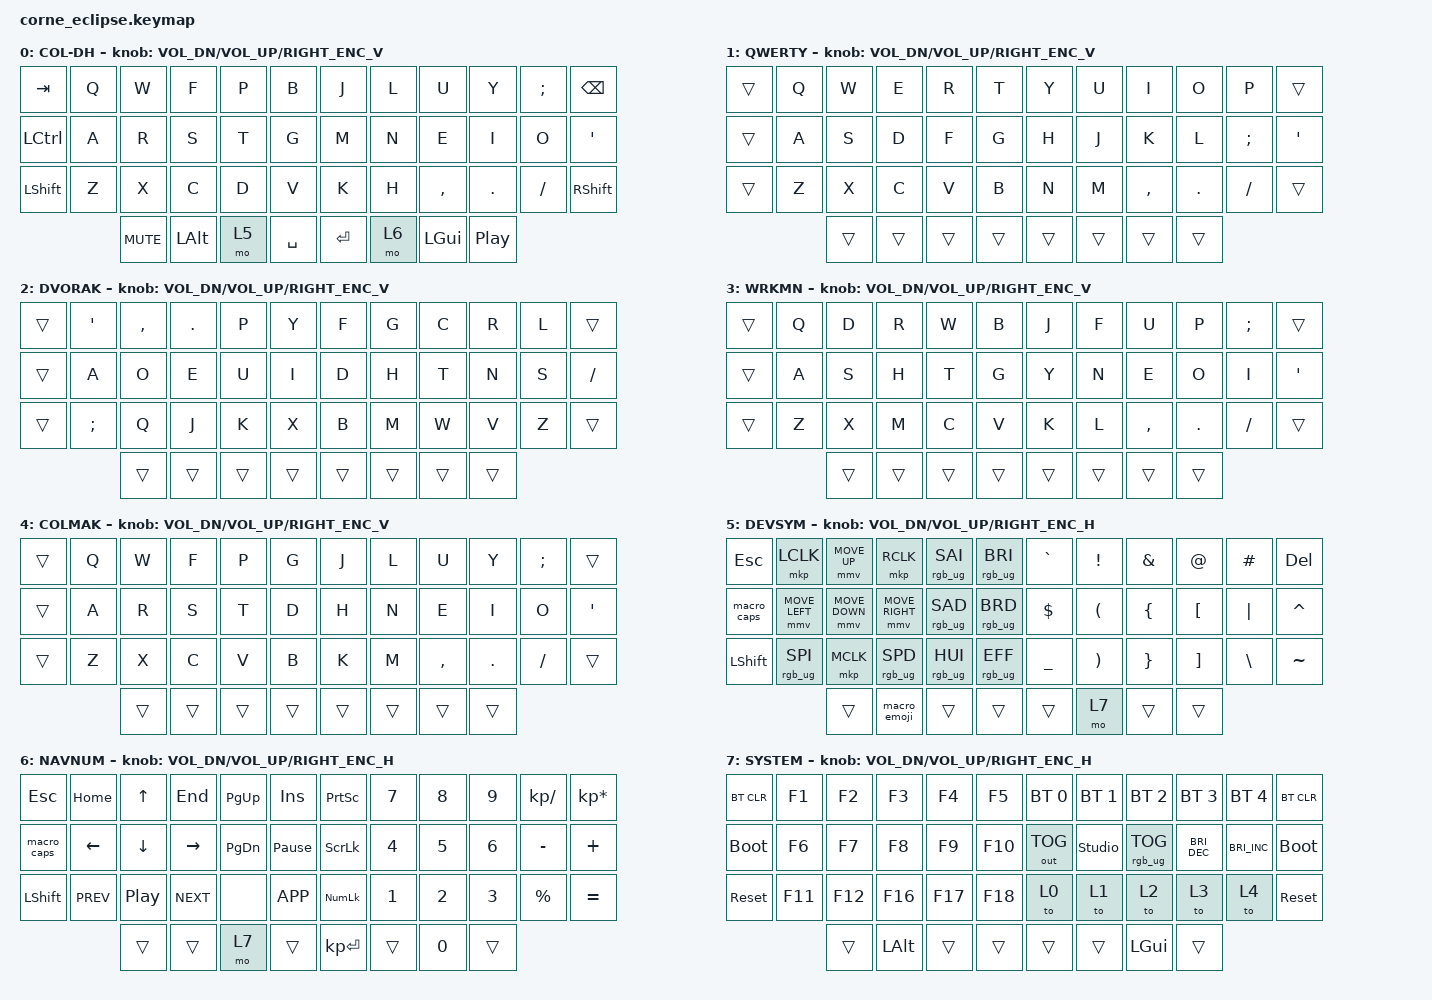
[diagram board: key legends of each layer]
/* DISABLE WORD WRAP FOR EASIER READING ****************************************
*******************************************************************************/

/*
 * Copyright (c) 2020 The ZMK Contributors
 * SPDX-License-Identifier: MIT
 *
 * Adapted for personal use from the ZMK project by Frosthaven
 */

#include <behaviors.dtsi>
#include <dt-bindings/zmk/keys.h>
#include <dt-bindings/zmk/bt.h>
#include <dt-bindings/zmk/rgb.h>
#include <dt-bindings/zmk/ext_power.h>
#include <dt-bindings/zmk/outputs.h>
#define ZMK_POINTING_DEFAULT_MOVE_VAL 1200
#define ZMK_POINTING_DEFAULT_SCRL_VAL 100
#include <dt-bindings/zmk/pointing.h>

/* Mouse cursor acceleration: ramp 0 -> max move value (1200) over 500ms
 * (ZMK default time-to-max-speed-ms is 300). */
&mmv {
    time-to-max-speed-ms = <500>;
};

/* BEHAVIORS *******************************************************************
*******************************************************************************/

&mt {
  tapping-term-ms = <200>;
};

/* DEVICE MAP ******************************************************************
*******************************************************************************/

#ifndef DEFAULT_TYPING_LAYER
#define DEFAULT_TYPING_LAYER 0
#endif

#define COLDH 0
#define QWERTY 1
#define DVORAK 2
#define WRKMN 3
#define COLMAK 4
#define SYMBOL 5
#define NAVPAD 6
#define SYSTEM 7

/* Right-encoder action: mouse scroll, all builds. (Two-finger scroll on the
 * trackpad covers the same gesture, so the encoder doesn't need to double as
 * a zoom wheel.) */
#define RIGHT_ENC_V &scroll_vertical
#define RIGHT_ENC_H &scroll_horizontal

/ {

  behaviors {
    scroll_vertical: scroll_vertical {
      compatible = "zmk,behavior-sensor-rotate";
      #sensor-binding-cells = <0>;
      bindings = <&msc SCRL_DOWN>, <&msc SCRL_UP>;
      tap-ms = <100>;
    };
    scroll_horizontal: scroll_horizontal {
      compatible = "zmk,behavior-sensor-rotate";
      #sensor-binding-cells = <0>;
      bindings = <&msc MOVE_X(75)>, <&msc MOVE_X(-75)>;
      tap-ms = <100>;
    };
  };

  macros {
    // MACOS requires the caps lock key to be held for 200ms to register
    ZMK_MACRO(macro_caps,
      tap-ms = <200>;
      bindings = <&kp CAPS>;
    )

    // emoji picker
    // - Windows: Win + .
    // - MacOS: Ctrl + Cmd + Space
    ZMK_MACRO(macro_emoji,
      tap-ms = <1>;
      bindings
          = <&macro_press &kp LGUI>
          , <&macro_tap &kp DOT>
          , <&macro_release &kp LGUI>
          , <&macro_press &kp LCTRL>
          , <&macro_press &kp LGUI>
          , <&macro_tap &kp SPACE>
          , <&macro_release &kp LCTRL>
          , <&macro_release &kp LGUI>
          ;
    )

  };

  keymap {
      compatible = "zmk,keymap";

/* LAYER 0 — DEFAULT TYPING LAYER (selected at compile time) *****************/

      layout_layer_0 {
#if DEFAULT_TYPING_LAYER == 1
        display-name ="QWERTY";
        bindings = <
          &kp TAB               &kp Q             &kp W             &kp E             &kp R             &kp T             &kp Y             &kp U             &kp I             &kp O             &kp P                 &kp BSPC
          &kp LCTRL             &kp A             &kp S             &kp D             &kp F             &kp G             &kp H             &kp J             &kp K             &kp L             &kp SEMI              &kp SQT
          &kp LSHFT             &kp Z             &kp X             &kp C             &kp V             &kp B             &kp N             &kp M             &kp COMMA         &kp DOT           &kp FSLH              &kp RSHFT
                                                  &kp C_MUTE        &kp LALT          &mo 5             &kp SPACE         &kp RET           &mo 6             &kp LGUI          &kp C_PLAY_PAUSE
        >;
#elif DEFAULT_TYPING_LAYER == 2
        display-name ="DVORAK";
        bindings = <
          &kp TAB               &kp SQT           &kp COMMA         &kp DOT           &kp P             &kp Y             &kp F             &kp G             &kp C             &kp R             &kp L                 &kp BSPC
          &kp LCTRL             &kp A             &kp O             &kp E             &kp U             &kp I             &kp D             &kp H             &kp T             &kp N             &kp S                 &kp FSLH
          &kp LSHFT             &kp SEMI          &kp Q             &kp J             &kp K             &kp X             &kp B             &kp M             &kp W             &kp V             &kp Z                 &kp RSHFT
                                                  &kp C_MUTE        &kp LALT          &mo 5             &kp SPACE         &kp RET           &mo 6             &kp LGUI          &kp C_PLAY_PAUSE
        >;
#elif DEFAULT_TYPING_LAYER == 3
        display-name ="WRKMN";
        bindings = <
          &kp TAB               &kp Q             &kp D             &kp R             &kp W             &kp B             &kp J             &kp F             &kp U             &kp P             &kp SEMI              &kp BSPC
          &kp LCTRL             &kp A             &kp S             &kp H             &kp T             &kp G             &kp Y             &kp N             &kp E             &kp O             &kp I                 &kp SQT
          &kp LSHFT             &kp Z             &kp X             &kp M             &kp C             &kp V             &kp K             &kp L             &kp COMMA         &kp DOT           &kp FSLH              &kp RSHFT
                                                  &kp C_MUTE        &kp LALT          &mo 5             &kp SPACE         &kp RET           &mo 6             &kp LGUI          &kp C_PLAY_PAUSE
        >;
#elif DEFAULT_TYPING_LAYER == 4
        display-name ="COLMAK";
        bindings = <
          &kp TAB               &kp Q             &kp W             &kp F             &kp P             &kp G             &kp J             &kp L             &kp U             &kp Y             &kp SEMI              &kp BSPC
          &kp LCTRL             &kp A             &kp R             &kp S             &kp T             &kp D             &kp H             &kp N             &kp E             &kp I             &kp O                 &kp SQT
          &kp LSHFT             &kp Z             &kp X             &kp C             &kp V             &kp B             &kp K             &kp M             &kp COMMA         &kp DOT           &kp FSLH              &kp RSHFT
                                                  &kp C_MUTE        &kp LALT          &mo 5             &kp SPACE         &kp RET           &mo 6             &kp LGUI          &kp C_PLAY_PAUSE
        >;
#else
        display-name ="COL-DH";
        bindings = <
          &kp TAB               &kp Q             &kp W             &kp F             &kp P             &kp B             &kp J             &kp L             &kp U             &kp Y             &kp SEMI              &kp BSPC
          &kp LCTRL             &kp A             &kp R             &kp S             &kp T             &kp G             &kp M             &kp N             &kp E             &kp I             &kp O                 &kp SQT
          &kp LSHFT             &kp Z             &kp X             &kp C             &kp D             &kp V             &kp K             &kp H             &kp COMMA         &kp DOT           &kp FSLH              &kp RSHFT
                                                  &kp C_MUTE        &kp LALT          &mo 5             &kp SPACE         &kp RET           &mo 6             &kp LGUI          &kp C_PLAY_PAUSE
        >;
#endif
        sensor-bindings = <&inc_dec_kp C_VOL_DN C_VOL_UP RIGHT_ENC_V>;
      };

/* LAYER 1 — QWERTY (or COL-DH if QWERTY was promoted) **********************/

      layout_layer_1 {
#if DEFAULT_TYPING_LAYER == 1
        display-name ="COL-DH";
        bindings = <
          &trans                &kp Q             &kp W             &kp F             &kp P             &kp B             &kp J             &kp L             &kp U             &kp Y             &kp SEMI              &trans
          &trans                &kp A             &kp R             &kp S             &kp T             &kp G             &kp M             &kp N             &kp E             &kp I             &kp O                 &kp SQT
          &trans                &kp Z             &kp X             &kp C             &kp D             &kp V             &kp K             &kp H             &kp COMMA         &kp DOT           &kp FSLH              &trans
                                                  &trans            &trans            &trans            &trans            &trans            &trans            &trans            &trans
        >;
#else
        display-name ="QWERTY";
        bindings = <
          &trans                &kp Q             &kp W             &kp E             &kp R             &kp T             &kp Y             &kp U             &kp I             &kp O             &kp P                 &trans
          &trans                &kp A             &kp S             &kp D             &kp F             &kp G             &kp H             &kp J             &kp K             &kp L             &kp SEMI              &kp SQT
          &trans                &kp Z             &kp X             &kp C             &kp V             &kp B             &kp N             &kp M             &kp COMMA         &kp DOT           &kp FSLH              &trans
                                                  &trans            &trans            &trans            &trans            &trans            &trans            &trans            &trans
        >;
#endif
        sensor-bindings = <&inc_dec_kp C_VOL_DN C_VOL_UP RIGHT_ENC_V>;
      };

/* LAYER 2 — DVORAK (or COL-DH if DVORAK was promoted) **********************/

      layout_layer_2 {
#if DEFAULT_TYPING_LAYER == 2
        display-name ="COL-DH";
        bindings = <
          &trans                &kp Q             &kp W             &kp F             &kp P             &kp B             &kp J             &kp L             &kp U             &kp Y             &kp SEMI              &trans
          &trans                &kp A             &kp R             &kp S             &kp T             &kp G             &kp M             &kp N             &kp E             &kp I             &kp O                 &kp SQT
          &trans                &kp Z             &kp X             &kp C             &kp D             &kp V             &kp K             &kp H             &kp COMMA         &kp DOT           &kp FSLH              &trans
                                                  &trans            &trans            &trans            &trans            &trans            &trans            &trans            &trans
        >;
#else
        display-name ="DVORAK";
        bindings = <
          &trans                &kp SQT           &kp COMMA         &kp DOT           &kp P             &kp Y             &kp F             &kp G             &kp C             &kp R             &kp L                 &trans
          &trans                &kp A             &kp O             &kp E             &kp U             &kp I             &kp D             &kp H             &kp T             &kp N             &kp S                 &kp FSLH
          &trans                &kp SEMI          &kp Q             &kp J             &kp K             &kp X             &kp B             &kp M             &kp W             &kp V             &kp Z                 &trans
                                                  &trans            &trans            &trans            &trans            &trans            &trans            &trans            &trans
        >;
#endif
        sensor-bindings = <&inc_dec_kp C_VOL_DN C_VOL_UP RIGHT_ENC_V>;
      };

/* LAYER 3 — WORKMAN (or COL-DH if WORKMAN was promoted) *********************/

      layout_layer_3 {
#if DEFAULT_TYPING_LAYER == 3
        display-name ="COL-DH";
        bindings = <
          &trans                &kp Q             &kp W             &kp F             &kp P             &kp B             &kp J             &kp L             &kp U             &kp Y             &kp SEMI              &trans
          &trans                &kp A             &kp R             &kp S             &kp T             &kp G             &kp M             &kp N             &kp E             &kp I             &kp O                 &kp SQT
          &trans                &kp Z             &kp X             &kp C             &kp D             &kp V             &kp K             &kp H             &kp COMMA         &kp DOT           &kp FSLH              &trans
                                                  &trans            &trans            &trans            &trans            &trans            &trans            &trans            &trans
        >;
#else
        display-name ="WRKMN";
        bindings = <
          &trans                &kp Q             &kp D             &kp R             &kp W             &kp B             &kp J             &kp F             &kp U             &kp P             &kp SEMI              &trans
          &trans                &kp A             &kp S             &kp H             &kp T             &kp G             &kp Y             &kp N             &kp E             &kp O             &kp I                 &kp SQT
          &trans                &kp Z             &kp X             &kp M             &kp C             &kp V             &kp K             &kp L             &kp COMMA         &kp DOT           &kp FSLH              &trans
                                                  &trans            &trans            &trans            &trans            &trans            &trans            &trans            &trans
        >;
#endif
        sensor-bindings = <&inc_dec_kp C_VOL_DN C_VOL_UP RIGHT_ENC_V>;
      };

/* LAYER 4 — COLEMAK (or COL-DH if COLEMAK was promoted) ********************/

      layout_layer_4 {
#if DEFAULT_TYPING_LAYER == 4
        display-name ="COL-DH";
        bindings = <
          &trans                &kp Q             &kp W             &kp F             &kp P             &kp B             &kp J             &kp L             &kp U             &kp Y             &kp SEMI              &trans
          &trans                &kp A             &kp R             &kp S             &kp T             &kp G             &kp M             &kp N             &kp E             &kp I             &kp O                 &kp SQT
          &trans                &kp Z             &kp X             &kp C             &kp D             &kp V             &kp K             &kp H             &kp COMMA         &kp DOT           &kp FSLH              &trans
                                                  &trans            &trans            &trans            &trans            &trans            &trans            &trans            &trans
        >;
#else
        display-name ="COLMAK";
        bindings = <
          &trans                &kp Q             &kp W             &kp F             &kp P             &kp G             &kp J             &kp L             &kp U             &kp Y             &kp SEMI              &trans
          &trans                &kp A             &kp R             &kp S             &kp T             &kp D             &kp H             &kp N             &kp E             &kp I             &kp O                 &kp SQT
          &trans                &kp Z             &kp X             &kp C             &kp V             &kp B             &kp K             &kp M             &kp COMMA         &kp DOT           &kp FSLH              &trans
                                                  &trans            &trans            &trans            &trans            &trans            &trans            &trans            &trans
        >;
#endif
        sensor-bindings = <&inc_dec_kp C_VOL_DN C_VOL_UP RIGHT_ENC_V>;
      };

      lower_layer {
        display-name ="DEVSYM";
        bindings = <
          &kp ESC               &mkp LCLK         &mmv MOVE_UP      &mkp RCLK         &rgb_ug RGB_SAI   &rgb_ug RGB_BRI   &kp GRAVE         &kp EXCL          &kp AMPS          &kp AT            &kp HASH              &kp DEL
          &macro_caps           &mmv MOVE_LEFT    &mmv MOVE_DOWN    &mmv MOVE_RIGHT   &rgb_ug RGB_SAD   &rgb_ug RGB_BRD   &kp DLLR          &kp LPAR          &kp LBRC          &kp LBKT          &kp PIPE              &kp CARET
          &kp LSHFT             &rgb_ug RGB_SPI   &mkp MCLK         &rgb_ug RGB_SPD   &rgb_ug RGB_HUI   &rgb_ug RGB_EFF   &kp UNDER         &kp RPAR          &kp RBRC          &kp RBKT          &kp BACKSLASH         &kp TILDE
                                                  &trans            &macro_emoji      &trans            &trans            &trans            &mo 7             &trans            &trans
        >;
        sensor-bindings = <&inc_dec_kp C_VOL_DN C_VOL_UP RIGHT_ENC_H>;
      };

      raise_layer {
        display-name ="NAVNUM";
        bindings = <
          &kp ESC               &kp HOME          &kp UP            &kp END           &kp PG_UP         &kp INSERT        &kp PSCRN         &kp N7            &kp N8            &kp N9            &kp KP_DIVIDE          &kp KP_MULTIPLY
          &macro_caps           &kp LEFT          &kp DOWN          &kp RIGHT         &kp PG_DN         &kp PAUSE_BREAK   &kp SCROLLLOCK    &kp N4            &kp N5            &kp N6            &kp MINUS              &kp PLUS
          &kp LSHFT             &kp C_PREV        &kp C_PLAY_PAUSE  &kp C_NEXT        &none             &kp K_APP         &kp KP_NUMLOCK    &kp N1            &kp N2            &kp N3            &kp PERCENT            &kp EQUAL
                                                  &trans            &trans            &mo 7             &trans            &kp KP_ENTER      &trans            &kp N0            &trans
        >;
        sensor-bindings = <&inc_dec_kp C_VOL_DN C_VOL_UP RIGHT_ENC_H>;
      };

      adjust_layer {
        display-name ="SYSTEM";
        bindings = <
          &bt BT_CLR            &kp F1            &kp F2            &kp F3            &kp F4            &kp F5            &bt BT_SEL 0      &bt BT_SEL 1      &bt BT_SEL 2      &bt BT_SEL 3      &bt BT_SEL 4          &bt BT_CLR
          &bootloader           &kp F6            &kp F7            &kp F8            &kp F9            &kp F10           &out OUT_TOG      &studio_unlock    &rgb_ug RGB_TOG   &kp C_BRI_DEC     &kp C_BRI_INC         &bootloader
          &sys_reset            &kp F11           &kp F12           &kp F16           &kp F17           &kp F18           &to 0             &to 1             &to 2             &to 3             &to 4                 &sys_reset
                                                  &trans            &kp LALT          &trans            &trans            &trans            &trans            &kp LGUI          &trans
        >;
        sensor-bindings = <&inc_dec_kp C_VOL_DN C_VOL_UP RIGHT_ENC_H>;
      };
    };
};
